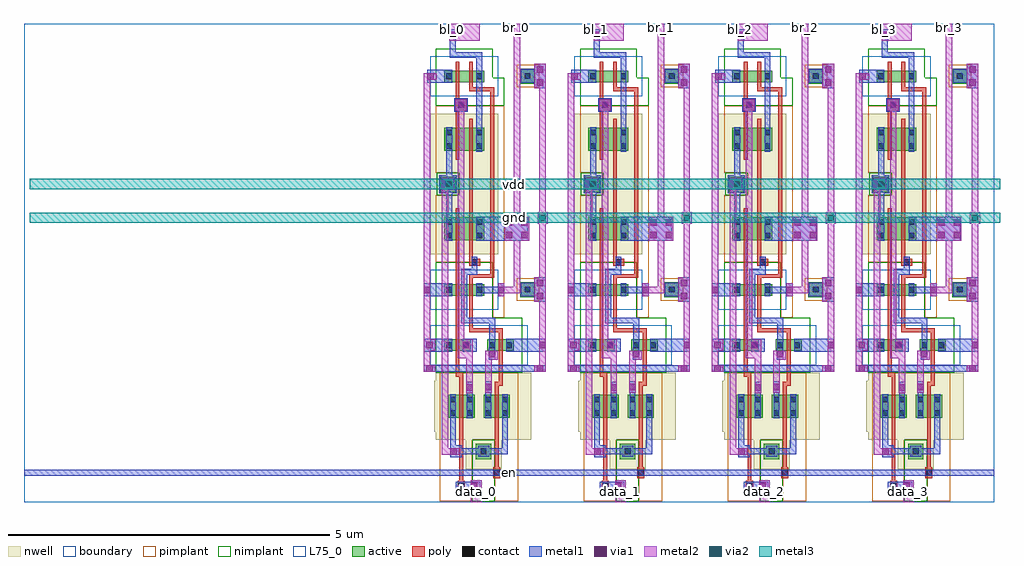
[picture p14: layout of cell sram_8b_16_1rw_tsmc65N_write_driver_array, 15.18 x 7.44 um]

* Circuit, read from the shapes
.subckt sram_8b_16_1rw_tsmc65N_write_driver_array bl_0 bl_1 bl_2 bl_3 br_0 br_1 br_2 br_3 data_0 data_1 data_2 data_3 en gnd vdd
M1 n1 data_0 gnd gnd nfet w=0.18u l=0.06u
M2 n2 data_0 gnd gnd nfet w=0.18u l=0.06u
M3 n3 n1 gnd gnd nfet w=0.18u l=0.06u
M4 br_0 en n2 gnd nfet w=0.18u l=0.06u
M5 bl_0 en n3 gnd nfet w=0.18u l=0.06u
M6 gnd en n4 gnd nfet w=0.18u l=0.06u
M7 n5 data_1 gnd gnd nfet w=0.18u l=0.06u
M8 n6 data_1 gnd gnd nfet w=0.18u l=0.06u
M9 n7 n5 gnd gnd nfet w=0.18u l=0.06u
M10 br_1 en n6 gnd nfet w=0.18u l=0.06u
M11 bl_1 en n7 gnd nfet w=0.18u l=0.06u
M12 gnd en n8 gnd nfet w=0.18u l=0.06u
M13 n9 data_2 gnd gnd nfet w=0.18u l=0.06u
M14 n10 data_2 gnd gnd nfet w=0.18u l=0.06u
M15 n11 n9 gnd gnd nfet w=0.18u l=0.06u
M16 br_2 en n10 gnd nfet w=0.18u l=0.06u
M17 bl_2 en n11 gnd nfet w=0.18u l=0.06u
M18 gnd en n12 gnd nfet w=0.18u l=0.06u
M19 n13 data_3 gnd gnd nfet w=0.18u l=0.06u
M20 n14 data_3 gnd gnd nfet w=0.18u l=0.06u
M21 n15 n13 gnd gnd nfet w=0.18u l=0.06u
M22 br_3 en n14 gnd nfet w=0.18u l=0.06u
M23 bl_3 en n15 gnd nfet w=0.18u l=0.06u
M24 gnd en n16 gnd nfet w=0.18u l=0.06u
M25 n17 data_0 vdd vdd pfet w=0.36u l=0.06u
M26 n18 n1 vdd vdd pfet w=0.36u l=0.06u
M27 n1 data_0 vdd vdd pfet w=0.36u l=0.06u
M28 br_0 n4 n17 vdd pfet w=0.36u l=0.06u
M29 bl_0 n4 n18 vdd pfet w=0.36u l=0.06u
M30 vdd en n4 vdd pfet w=0.36u l=0.06u
M31 n19 data_1 vdd vdd pfet w=0.36u l=0.06u
M32 n20 n5 vdd vdd pfet w=0.36u l=0.06u
M33 n5 data_1 vdd vdd pfet w=0.36u l=0.06u
M34 br_1 n8 n19 vdd pfet w=0.36u l=0.06u
M35 bl_1 n8 n20 vdd pfet w=0.36u l=0.06u
M36 vdd en n8 vdd pfet w=0.36u l=0.06u
M37 n21 data_2 vdd vdd pfet w=0.36u l=0.06u
M38 n22 n9 vdd vdd pfet w=0.36u l=0.06u
M39 n9 data_2 vdd vdd pfet w=0.36u l=0.06u
M40 br_2 n12 n21 vdd pfet w=0.36u l=0.06u
M41 bl_2 n12 n22 vdd pfet w=0.36u l=0.06u
M42 vdd en n12 vdd pfet w=0.36u l=0.06u
M43 n23 data_3 vdd vdd pfet w=0.36u l=0.06u
M44 n24 n13 vdd vdd pfet w=0.36u l=0.06u
M45 n13 data_3 vdd vdd pfet w=0.36u l=0.06u
M46 br_3 n16 n23 vdd pfet w=0.36u l=0.06u
M47 bl_3 n16 n24 vdd pfet w=0.36u l=0.06u
M48 vdd en n16 vdd pfet w=0.36u l=0.06u
.ends

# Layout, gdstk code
import gdstk
lib = gdstk.Library(unit=1e-6, precision=1e-09)
def R(c, l, rs):  # rectangles x0, y0, x1, y1
    for r in rs: c.add(gdstk.rectangle(r[:2], r[2:], *l))
def A(c, l, x, y, w, h, nx, ny, dx, dy):  # array of equal rectangles
    R(c, l, [(x+i*dx, y+j*dy, x+i*dx+w, y+j*dy+h) for i in range(nx) for j in range(ny)])
def P(c, l, *ps):  # polygons
    for p in ps: c.add(gdstk.Polygon(p, *l))
nwell = (3, 0)
active = (6, 0)
poly = (17, 0)
pimplant = (25, 0)
nimplant = (26, 0)
contact = (30, 0)
metal1 = (31, 0)
metal2 = (32, 0)
metal3 = (33, 0)
via1 = (51, 0)
via2 = (52, 0)
L75_0 = (75, 0)
boundary = (108, 0)

write_driver = lib.new_cell('write_driver')
R(write_driver, nwell, [(0.9,0.51,1.46,1.07), (0.945,0.555,1.415,1.025), (0.44,0.97,1.925,2.01), (0.41,1.09,1.26,1.89), (0.96,1.09,1.81,1.89), (0.35,3.85,1.1,4.65), (0.66,3.85,1.41,4.65), (0.35,3.905,1.41,6.04), (0.35,4.66,0.91,5.22), (0.395,4.705,0.865,5.175), (0.35,5.24,1.1,6.04), (0.66,5.24,1.41,6.04)])
R(write_driver, active, [(1.06,0.67,1.3,0.91), (1.105,0.715,1.255,0.865), (0.63,1.31,0.805,1.67), (0.805,1.31,0.865,1.67), (0.865,1.31,1.04,1.67), (1.18,1.31,1.355,1.67), (1.355,1.31,1.415,1.67), (1.415,1.31,1.59,1.67), (0.57,2.35,0.745,2.53), (0.745,2.35,0.805,2.53), (0.805,2.35,0.98,2.53), (1.24,2.35,1.415,2.53), (1.415,2.35,1.475,2.53), (1.475,2.35,1.65,2.53), (1.75,3.185,1.985,3.42), (0.57,3.21,0.745,3.39), (0.745,3.21,0.805,3.39), (0.805,3.21,0.88,3.39), (0.88,3.21,0.955,3.39), (0.955,3.21,1.015,3.39), (1.015,3.21,1.19,3.39), (1.78,3.22,1.95,3.39), (0.57,4.07,0.745,4.43), (0.745,4.07,0.805,4.43), (0.805,4.07,0.88,4.43), (0.88,4.07,0.955,4.43), (0.955,4.07,1.015,4.43), (1.015,4.07,1.19,4.43), (0.51,4.82,0.75,5.06), (0.555,4.865,0.705,5.015), (0.57,5.46,0.745,5.82), (0.745,5.46,0.805,5.82), (0.805,5.46,0.88,5.82), (0.88,5.46,0.955,5.82), (0.955,5.46,1.015,5.82), (1.015,5.46,1.19,5.82), (1.75,6.505,1.985,6.74), (0.57,6.53,0.745,6.71), (0.745,6.53,0.805,6.71), (0.805,6.53,0.88,6.71), (0.88,6.53,0.955,6.71), (0.955,6.53,1.015,6.71), (1.015,6.53,1.19,6.71), (1.78,6.54,1.95,6.71)])
R(write_driver, poly, [(0.78,0.165,0.89,0.335), (0.805,0.25,0.865,1.17), (1.33,0.37,1.44,0.54), (1.355,0.455,1.415,1.17), (0.805,1.17,0.865,1.31), (1.355,1.17,1.415,1.31), (0.805,1.31,0.865,1.67), (1.355,1.31,1.415,1.67), (0.805,1.67,0.865,1.81), (1.355,1.67,1.415,1.81), (0.745,2.21,0.805,2.35), (1.415,2.21,1.475,2.35), (0.745,2.35,0.805,2.53), (1.415,2.35,1.475,2.53), (0.745,2.53,0.805,2.67), (1.415,2.53,1.475,2.67), (0.745,2.67,0.805,3.07), (0.745,3.07,0.805,3.21), (0.955,3.07,1.015,3.21), (0.745,3.21,0.805,3.39), (0.955,3.21,1.015,3.39), (0.745,3.39,0.805,3.53), (0.955,3.39,1.015,3.53), (0.745,3.53,0.805,3.93), (0.955,3.675,1.125,3.785), (0.745,3.93,0.805,4.07), (0.955,3.93,1.015,4.07), (0.745,4.07,0.805,4.43), (0.955,4.07,1.015,4.43), (0.745,4.43,0.805,4.57), (0.955,4.43,1.015,4.57), (0.955,4.57,1.015,5.32), (0.745,5.32,0.805,5.46), (0.955,5.32,1.015,5.46), (0.745,5.46,0.805,5.82), (0.955,5.46,1.015,5.82), (0.745,5.665,0.805,6.39), (0.745,5.82,0.805,5.96), (0.955,5.82,1.015,5.96), (0.745,6.09,0.915,6.26), (0.8,6.145,0.89,6.205), (0.745,6.39,0.805,6.53), (0.955,6.39,1.015,6.53), (0.745,6.53,0.805,6.71), (0.955,6.53,1.015,6.71), (0.745,6.71,0.805,6.85), (0.955,6.71,1.015,6.85)])
P(write_driver, poly, [(0.745,2.21),(0.745,1.95),(0.805,1.95),(0.805,1.81),(0.865,1.81),(0.865,2.01),(0.805,2.01),(0.805,2.21)],
  [(1.015,3.39),(1.015,3.485),(1.345,3.485),(1.345,6.45),(1.015,6.45),(1.015,6.39),(1.285,6.39),(1.285,3.545),(0.955,3.545),(0.955,3.39)],
  [(0.955,3.93),(0.955,3.7),(1.04,3.7),(1.04,3.76),(1.015,3.76),(1.015,3.93)],
  [(1.015,3.13),(0.955,3.13),(0.955,2.64),(1.475,2.64),(1.475,2.7),(1.015,2.7)],
  [(1.475,1.81),(1.475,2.21),(1.415,2.21),(1.415,1.87),(1.355,1.87),(1.355,1.81)])
R(write_driver, pimplant, [(0.5,0.015,1.005,0.97), (1.355,0.015,1.72,0.97), (0.5,0.97,1.17,2.01), (1.05,0.97,1.72,2.01), (1.32,2.87,1.505,6.16), (1.695,3.13,2.045,3.48), (1.76,3.2,1.97,3.41), (0.44,3.73,1.01,4.77), (0.75,3.73,1.32,4.77), (0.805,4.77,1.32,5.12), (0.44,5.12,1.01,6.16), (0.75,5.12,1.32,6.16), (1.695,6.45,2.045,6.8), (1.76,6.52,1.97,6.73)])
R(write_driver, nimplant, [(1.005,0.015,1.355,0.62), (1.005,0.62,1.355,0.97), (1.085,0.695,1.275,0.885), (0.44,2.01,1.11,2.87), (1.11,2.01,1.78,2.87), (0.44,2.87,1.01,3.73), (0.75,2.87,1.32,3.73), (0.455,4.77,0.805,5.12), (0.535,4.845,0.725,5.035), (0.44,6.16,1.505,6.6), (0.44,6.19,1.01,7.05), (0.75,6.19,1.32,7.05)])
R(write_driver, contact, [(0.79,0.205,0.88,0.295), (1.34,0.41,1.43,0.5), (1.135,0.745,1.225,0.835), (0.66,1.34,0.75,1.43), (0.92,1.34,1.01,1.43), (1.21,1.34,1.3,1.43), (1.47,1.34,1.56,1.43), (0.66,1.55,0.75,1.64), (0.92,1.55,1.01,1.64), (1.21,1.55,1.3,1.64), (1.47,1.55,1.56,1.64), (0.6,2.395,0.69,2.485), (0.86,2.395,0.95,2.485), (1.27,2.395,1.36,2.485), (1.53,2.395,1.62,2.485), (0.6,3.255,0.69,3.345), (1.07,3.255,1.16,3.345), (1.82,3.26,1.91,3.35), (0.995,3.685,1.085,3.775), (0.6,4.1,0.69,4.19), (1.07,4.1,1.16,4.19), (0.6,4.31,0.69,4.4), (1.07,4.31,1.16,4.4), (0.585,4.895,0.675,4.985), (0.6,5.49,0.69,5.58), (1.07,5.49,1.16,5.58), (0.6,5.7,0.69,5.79), (1.07,5.7,1.16,5.79), (0.785,6.13,0.875,6.22), (0.6,6.575,0.69,6.665), (1.07,6.575,1.16,6.665), (1.82,6.58,1.91,6.67)])
R(write_driver, metal1, [(0.745,0.165,1.125,0.315), (0.945,0.2,1.125,0.3), (0.75,0.205,0.92,0.295), (0.835,0.205,1.035,0.295), (0.66,0.41,0.75,0.5), (0.66,0.41,1.385,0.5), (0.66,0.41,1.385,0.5), (1.3,0.41,1.47,0.5), (1.385,0.41,1.56,0.5), (0.66,0.7,0.84,0.88), (0.66,0.7,0.76,0.88), (1.095,0.705,1.265,0.875), (0.66,0.79,0.75,1.3), (0.66,1.3,0.75,1.68), (0.92,1.3,1.01,1.68), (1.21,1.3,1.3,1.68), (1.47,1.3,1.56,1.68), (0.92,1.68,1.01,1.785), (1.21,1.68,1.3,1.79), (0.915,1.695,1.015,1.875), (1.205,1.7,1.305,1.88), (0.25,2.025,0.43,2.125), (0.3,2.025,2.06,2.125), (1.97,2.025,2.15,2.125), (1.26,2.215,1.36,2.395), (0.25,2.34,0.43,2.54), (0.355,2.34,0.6,2.54), (0.6,2.34,0.69,2.54), (0.86,2.34,1.075,2.54), (0.86,2.34,0.96,2.54), (0.86,2.34,0.95,2.54), (1.27,2.34,1.36,2.54), (1.53,2.34,1.62,2.54), (1.62,2.34,2.1,2.54), (2.05,2.34,2.15,2.54), (0.25,2.35,0.43,2.53), (0.86,2.35,0.96,2.53), (0.86,2.35,0.96,2.53), (1.97,3.115,2.15,3.495), (0.25,3.2,0.35,3.4), (0.3,3.2,0.6,3.4), (0.6,3.2,0.69,3.4), (1.07,3.2,1.16,3.4), (1.405,3.2,1.505,3.4), (1.76,3.2,1.97,3.41), (1.15,3.25,1.455,3.35), (0.995,3.645,1.085,3.815), (0.6,4.06,0.69,4.44), (1.07,4.06,1.16,4.44), (1.16,4.06,1.7,4.44), (1.53,4.06,1.87,4.44), (0.6,4.44,0.69,5.45), (0.6,4.44,0.69,5.45), (0.495,4.8,0.765,5.08), (0.53,4.855,0.63,5.035), (0.545,4.855,0.715,5.025), (0.585,4.895,0.675,4.985), (0.6,5.45,0.69,5.83), (1.07,5.45,1.16,5.83), (1.07,5.83,1.16,6.52), (0.725,6.07,0.935,6.28), (0.725,6.07,0.935,6.28), (1.97,6.435,2.15,6.815), (0.305,6.52,0.405,6.72), (0.355,6.52,0.6,6.72), (0.6,6.52,0.69,6.72), (1.07,6.52,1.16,6.72), (1.76,6.52,1.97,6.73), (0.65,7.175,0.75,7.355)])
P(write_driver, metal1, [(0.655,7.26),(0.655,6.905),(1.07,6.905),(1.07,6.72),(1.16,6.72),(1.16,6.995),(0.745,6.995),(0.745,7.26)],
  [(0.705,0.745),(1.56,0.745),(1.56,1.3),(1.47,1.3),(1.47,0.835),(0.705,0.835)],
  [(0.995,3.73),(0.995,3.625),(0.835,3.625),(0.835,2.78),(1.27,2.78),(1.27,2.54),(1.36,2.54),(1.36,2.87),(0.925,2.87),(0.925,3.535),(1.085,3.535),(1.085,3.73)])
R(write_driver, metal2, [(0.985,0,1.15,0.34), (0.985,0,1.15,0.34), (0.985,0,1.085,0.25), (0.99,0,1.08,0.09), (0.985,0.16,1.085,0.34), (0.53,0.74,0.63,4.935), (0.555,0.74,0.71,0.84), (0.62,0.74,0.8,0.84), (0.915,1.695,1.015,1.875), (1.205,1.7,1.305,1.88), (0.915,1.785,1.015,2.53), (0.25,2.025,0.43,2.125), (0.25,2.025,0.35,6.67), (0.34,2.025,0.43,2.125), (1.97,2.025,2.15,2.125), (2.05,2.025,2.15,6.815), (2.05,2.025,2.15,6.815), (2.06,2.025,2.15,2.125), (1.205,2.215,1.4,2.355), (1.22,2.255,1.4,2.355), (0.25,2.35,0.43,2.53), (0.86,2.35,0.96,2.53), (0.96,2.35,1,2.53), (2.05,2.35,2.15,2.53), (0.82,2.39,1,2.49), (1.97,3.115,2.15,3.495), (1.405,3.2,1.505,3.4), (0.25,3.21,0.35,3.39), (1.65,3.25,1.75,3.35), (1.51,4.06,1.89,4.44), (0.53,4.855,0.63,5.035), (0.74,6.085,0.92,6.265), (1.97,6.435,2.15,6.815), (0.255,6.57,0.455,6.67), (2.05,6.715,2.15,6.815), (0.65,7.175,0.75,7.355), (0.75,7.175,1.12,7.435), (0.65,7.255,0.75,7.435), (0.65,7.255,0.75,7.435), (0.65,7.335,0.75,7.435), (1.65,7.335,1.75,7.435), (1.65,7.335,1.75,7.435)])
P(write_driver, metal2, [(0.78,6.175),(0.78,2.24),(0.96,2.24),(0.96,2.44),(0.86,2.44),(0.86,2.34),(0.88,2.34),(0.88,6.175)],
  [(1.305,1.79),(1.305,2.215),(1.31,2.215),(1.31,2.315),(1.205,2.315),(1.205,1.79)],
  [(1.455,3.25),(1.75,3.25),(1.75,7.435),(1.65,7.435),(1.65,3.35),(1.455,3.35)])
R(write_driver, via1, [(0.985,0.2,1.085,0.3), (0.66,0.74,0.76,0.84), (0.915,1.735,1.015,1.835), (1.205,1.74,1.305,1.84), (0.29,2.025,0.39,2.125), (2.01,2.025,2.11,2.125), (1.26,2.255,1.36,2.355), (0.29,2.39,0.39,2.49), (0.86,2.39,0.96,2.49), (0.86,2.39,0.96,2.49), (2.05,2.39,2.15,2.49), (2.01,3.155,2.11,3.255), (0.25,3.25,0.35,3.35), (1.405,3.25,1.505,3.35), (2.01,3.355,2.11,3.455), (1.53,4.1,1.63,4.2), (1.77,4.1,1.87,4.2), (1.53,4.3,1.63,4.4), (1.77,4.3,1.87,4.4), (0.53,4.895,0.63,4.995), (0.78,6.125,0.88,6.225), (2.01,6.475,2.11,6.575), (0.305,6.57,0.405,6.67), (2.01,6.675,2.11,6.775), (0.65,7.215,0.75,7.315)])
R(write_driver, L75_0, [(0.35,2.13,1.2,2.75), (1.02,2.13,1.87,2.75), (0.35,2.99,1.1,3.61), (0.66,2.99,1.41,3.61), (1.76,3.2,1.97,3.41), (0.35,6.31,1.1,6.93), (0.66,6.31,1.41,6.93), (1.76,6.52,1.97,6.73)])
R(write_driver, boundary, [(0,0,2.4,7.435)])
write_driver.add(gdstk.Label('vdd', (0.63,4.94), layer=31, texttype=0))
write_driver.add(gdstk.Label('en', (0.705,0.455), layer=31, texttype=0))
write_driver.add(gdstk.Label('[@instanceName]', (1.445,2.44), layer=127, texttype=0))
write_driver.add(gdstk.Label('nch\n0.18/0.06\n', (1.475,2.35), layer=127, texttype=0))
write_driver.add(gdstk.Label('D', (1.315,2.44), layer=127, texttype=0))
write_driver.add(gdstk.Label('S', (1.575,2.44), layer=127, texttype=0))
write_driver.add(gdstk.Label('[@instanceName]', (0.775,2.44), layer=127, texttype=0))
write_driver.add(gdstk.Label('nch\n0.18/0.06\n', (0.745,2.35), layer=127, texttype=0))
write_driver.add(gdstk.Label('D', (0.905,2.44), layer=127, texttype=0))
write_driver.add(gdstk.Label('S', (0.645,2.44), layer=127, texttype=0))
write_driver.add(gdstk.Label('[@instanceName]', (1.385,1.49), layer=127, texttype=0))
write_driver.add(gdstk.Label('pch\n0.36/0.06\n', (1.415,1.31), layer=127, texttype=0))
write_driver.add(gdstk.Label('D', (1.255,1.49), layer=127, texttype=0))
write_driver.add(gdstk.Label('S', (1.515,1.49), layer=127, texttype=0))
write_driver.add(gdstk.Label('[@instanceName]', (0.835,1.49), layer=127, texttype=0))
write_driver.add(gdstk.Label('pch\n0.36/0.06\n', (0.805,1.31), layer=127, texttype=0))
write_driver.add(gdstk.Label('D', (0.965,1.49), layer=127, texttype=0))
write_driver.add(gdstk.Label('S', (0.705,1.49), layer=127, texttype=0))
write_driver.add(gdstk.Label('[@instanceName]', (0.985,3.3), layer=127, texttype=0))
write_driver.add(gdstk.Label('nch\n0.18/0.06\n', (0.955,3.21), layer=127, texttype=0))
write_driver.add(gdstk.Label('D', (1.115,3.3), layer=127, texttype=0))
write_driver.add(gdstk.Label('[@instanceName]', (0.985,6.62), layer=127, texttype=0))
write_driver.add(gdstk.Label('nch\n0.18/0.06\n', (0.955,6.53), layer=127, texttype=0))
write_driver.add(gdstk.Label('D', (1.115,6.62), layer=127, texttype=0))
write_driver.add(gdstk.Label('[@instanceName]', (0.775,3.3), layer=127, texttype=0))
write_driver.add(gdstk.Label('nch\n0.18/0.06\n', (0.745,3.21), layer=127, texttype=0))
write_driver.add(gdstk.Label('S', (0.645,3.3), layer=127, texttype=0))
write_driver.add(gdstk.Label('[@instanceName]', (0.775,6.62), layer=127, texttype=0))
write_driver.add(gdstk.Label('nch\n0.18/0.06\n', (0.745,6.53), layer=127, texttype=0))
write_driver.add(gdstk.Label('S', (0.645,6.62), layer=127, texttype=0))
write_driver.add(gdstk.Label('[@instanceName]', (0.985,4.25), layer=127, texttype=0))
write_driver.add(gdstk.Label('pch\n0.36/0.06\n', (0.955,4.07), layer=127, texttype=0))
write_driver.add(gdstk.Label('D', (1.115,4.25), layer=127, texttype=0))
write_driver.add(gdstk.Label('[@instanceName]', (0.985,5.64), layer=127, texttype=0))
write_driver.add(gdstk.Label('pch\n0.36/0.06\n', (0.955,5.46), layer=127, texttype=0))
write_driver.add(gdstk.Label('D', (1.115,5.64), layer=127, texttype=0))
write_driver.add(gdstk.Label('[@instanceName]', (0.775,4.25), layer=127, texttype=0))
write_driver.add(gdstk.Label('pch\n0.36/0.06\n', (0.745,4.07), layer=127, texttype=0))
write_driver.add(gdstk.Label('S', (0.645,4.25), layer=127, texttype=0))
write_driver.add(gdstk.Label('[@instanceName]', (0.775,5.64), layer=127, texttype=0))
write_driver.add(gdstk.Label('pch\n0.36/0.06\n', (0.745,5.46), layer=127, texttype=0))
write_driver.add(gdstk.Label('S', (0.645,5.64), layer=127, texttype=0))
write_driver.add(gdstk.Label('& SerialNumber 000000', (1.475,2.35), layer=63, texttype=63))
write_driver.add(gdstk.Label('& Distributor TSMC', (1.475,2.35), layer=63, texttype=63))
write_driver.add(gdstk.Label('& Metric 1', (1.475,2.35), layer=63, texttype=63))
write_driver.add(gdstk.Label('& PDK Version "tsmcN65_DTQ::RWg\\177;oCnm~vw{v}v\\202_20120815"', (1.475,2.35), layer=63, texttype=63))
write_driver.add(gdstk.Label('& PDK TechNode "CRN65LP"', (1.475,2.35), layer=63, texttype=63))
write_driver.add(gdstk.Label('& Product    tsmcN65_PDK', (1.475,2.35), layer=63, texttype=63))
write_driver.add(gdstk.Label('& Vendor     Taiwan Semiconductor manufacturing Corp.', (1.475,2.35), layer=63, texttype=63))
write_driver.add(gdstk.Label('& SerialNumber 000000', (0.745,2.35), layer=63, texttype=63))
write_driver.add(gdstk.Label('& Distributor TSMC', (0.745,2.35), layer=63, texttype=63))
write_driver.add(gdstk.Label('& Metric 1', (0.745,2.35), layer=63, texttype=63))
write_driver.add(gdstk.Label('& PDK Version "tsmcN65_DTQ::RWg\\177;oCnm~vw{v}v\\202_20120815"', (0.745,2.35), layer=63, texttype=63))
write_driver.add(gdstk.Label('& PDK TechNode "CRN65LP"', (0.745,2.35), layer=63, texttype=63))
write_driver.add(gdstk.Label('& Product    tsmcN65_PDK', (0.745,2.35), layer=63, texttype=63))
write_driver.add(gdstk.Label('& Vendor     Taiwan Semiconductor manufacturing Corp.', (0.745,2.35), layer=63, texttype=63))
write_driver.add(gdstk.Label('& SerialNumber 000000', (1.415,1.31), layer=63, texttype=63))
write_driver.add(gdstk.Label('& Distributor TSMC', (1.415,1.31), layer=63, texttype=63))
write_driver.add(gdstk.Label('& Metric 1', (1.415,1.31), layer=63, texttype=63))
write_driver.add(gdstk.Label('& PDK Version "tsmcN65_DTQ::RWg\\177;oCnm~vw{v}v\\202_20120815"', (1.415,1.31), layer=63, texttype=63))
write_driver.add(gdstk.Label('& PDK TechNode "CRN65LP"', (1.415,1.31), layer=63, texttype=63))
write_driver.add(gdstk.Label('& Product    tsmcN65_PDK', (1.415,1.31), layer=63, texttype=63))
write_driver.add(gdstk.Label('& Vendor     Taiwan Semiconductor manufacturing Corp.', (1.415,1.31), layer=63, texttype=63))
write_driver.add(gdstk.Label('& SerialNumber 000000', (0.805,1.31), layer=63, texttype=63))
write_driver.add(gdstk.Label('& Distributor TSMC', (0.805,1.31), layer=63, texttype=63))
write_driver.add(gdstk.Label('& Metric 1', (0.805,1.31), layer=63, texttype=63))
write_driver.add(gdstk.Label('& PDK Version "tsmcN65_DTQ::RWg\\177;oCnm~vw{v}v\\202_20120815"', (0.805,1.31), layer=63, texttype=63))
write_driver.add(gdstk.Label('& PDK TechNode "CRN65LP"', (0.805,1.31), layer=63, texttype=63))
write_driver.add(gdstk.Label('& Product    tsmcN65_PDK', (0.805,1.31), layer=63, texttype=63))
write_driver.add(gdstk.Label('& Vendor     Taiwan Semiconductor manufacturing Corp.', (0.805,1.31), layer=63, texttype=63))
write_driver.add(gdstk.Label('& SerialNumber 000000', (0.955,3.21), layer=63, texttype=63))
write_driver.add(gdstk.Label('& Distributor TSMC', (0.955,3.21), layer=63, texttype=63))
write_driver.add(gdstk.Label('& Metric 1', (0.955,3.21), layer=63, texttype=63))
write_driver.add(gdstk.Label('& PDK Version "tsmcN65_DTQ::RWg\\177;oCnm~vw{v}v\\202_20120815"', (0.955,3.21), layer=63, texttype=63))
write_driver.add(gdstk.Label('& PDK TechNode "CRN65LP"', (0.955,3.21), layer=63, texttype=63))
write_driver.add(gdstk.Label('& Product    tsmcN65_PDK', (0.955,3.21), layer=63, texttype=63))
write_driver.add(gdstk.Label('& Vendor     Taiwan Semiconductor manufacturing Corp.', (0.955,3.21), layer=63, texttype=63))
write_driver.add(gdstk.Label('& SerialNumber 000000', (0.955,6.53), layer=63, texttype=63))
write_driver.add(gdstk.Label('& Distributor TSMC', (0.955,6.53), layer=63, texttype=63))
write_driver.add(gdstk.Label('& Metric 1', (0.955,6.53), layer=63, texttype=63))
write_driver.add(gdstk.Label('& PDK Version "tsmcN65_DTQ::RWg\\177;oCnm~vw{v}v\\202_20120815"', (0.955,6.53), layer=63, texttype=63))
write_driver.add(gdstk.Label('& PDK TechNode "CRN65LP"', (0.955,6.53), layer=63, texttype=63))
write_driver.add(gdstk.Label('& Product    tsmcN65_PDK', (0.955,6.53), layer=63, texttype=63))
write_driver.add(gdstk.Label('& Vendor     Taiwan Semiconductor manufacturing Corp.', (0.955,6.53), layer=63, texttype=63))
write_driver.add(gdstk.Label('& SerialNumber 000000', (0.745,3.21), layer=63, texttype=63))
write_driver.add(gdstk.Label('& Distributor TSMC', (0.745,3.21), layer=63, texttype=63))
write_driver.add(gdstk.Label('& Metric 1', (0.745,3.21), layer=63, texttype=63))
write_driver.add(gdstk.Label('& PDK Version "tsmcN65_DTQ::RWg\\177;oCnm~vw{v}v\\202_20120815"', (0.745,3.21), layer=63, texttype=63))
write_driver.add(gdstk.Label('& PDK TechNode "CRN65LP"', (0.745,3.21), layer=63, texttype=63))
write_driver.add(gdstk.Label('& Product    tsmcN65_PDK', (0.745,3.21), layer=63, texttype=63))
write_driver.add(gdstk.Label('& Vendor     Taiwan Semiconductor manufacturing Corp.', (0.745,3.21), layer=63, texttype=63))
write_driver.add(gdstk.Label('& SerialNumber 000000', (0.745,6.53), layer=63, texttype=63))
write_driver.add(gdstk.Label('& Distributor TSMC', (0.745,6.53), layer=63, texttype=63))
write_driver.add(gdstk.Label('& Metric 1', (0.745,6.53), layer=63, texttype=63))
write_driver.add(gdstk.Label('& PDK Version "tsmcN65_DTQ::RWg\\177;oCnm~vw{v}v\\202_20120815"', (0.745,6.53), layer=63, texttype=63))
write_driver.add(gdstk.Label('& PDK TechNode "CRN65LP"', (0.745,6.53), layer=63, texttype=63))
write_driver.add(gdstk.Label('& Product    tsmcN65_PDK', (0.745,6.53), layer=63, texttype=63))
write_driver.add(gdstk.Label('& Vendor     Taiwan Semiconductor manufacturing Corp.', (0.745,6.53), layer=63, texttype=63))
write_driver.add(gdstk.Label('& SerialNumber 000000', (0.955,4.07), layer=63, texttype=63))
write_driver.add(gdstk.Label('& Distributor TSMC', (0.955,4.07), layer=63, texttype=63))
write_driver.add(gdstk.Label('& Metric 1', (0.955,4.07), layer=63, texttype=63))
write_driver.add(gdstk.Label('& PDK Version "tsmcN65_DTQ::RWg\\177;oCnm~vw{v}v\\202_20120815"', (0.955,4.07), layer=63, texttype=63))
write_driver.add(gdstk.Label('& PDK TechNode "CRN65LP"', (0.955,4.07), layer=63, texttype=63))
write_driver.add(gdstk.Label('& Product    tsmcN65_PDK', (0.955,4.07), layer=63, texttype=63))
write_driver.add(gdstk.Label('& Vendor     Taiwan Semiconductor manufacturing Corp.', (0.955,4.07), layer=63, texttype=63))
write_driver.add(gdstk.Label('& SerialNumber 000000', (0.955,5.46), layer=63, texttype=63))
write_driver.add(gdstk.Label('& Distributor TSMC', (0.955,5.46), layer=63, texttype=63))
write_driver.add(gdstk.Label('& Metric 1', (0.955,5.46), layer=63, texttype=63))
write_driver.add(gdstk.Label('& PDK Version "tsmcN65_DTQ::RWg\\177;oCnm~vw{v}v\\202_20120815"', (0.955,5.46), layer=63, texttype=63))
write_driver.add(gdstk.Label('& PDK TechNode "CRN65LP"', (0.955,5.46), layer=63, texttype=63))
write_driver.add(gdstk.Label('& Product    tsmcN65_PDK', (0.955,5.46), layer=63, texttype=63))
write_driver.add(gdstk.Label('& Vendor     Taiwan Semiconductor manufacturing Corp.', (0.955,5.46), layer=63, texttype=63))
write_driver.add(gdstk.Label('& SerialNumber 000000', (0.745,4.07), layer=63, texttype=63))
write_driver.add(gdstk.Label('& Distributor TSMC', (0.745,4.07), layer=63, texttype=63))
write_driver.add(gdstk.Label('& Metric 1', (0.745,4.07), layer=63, texttype=63))
write_driver.add(gdstk.Label('& PDK Version "tsmcN65_DTQ::RWg\\177;oCnm~vw{v}v\\202_20120815"', (0.745,4.07), layer=63, texttype=63))
write_driver.add(gdstk.Label('& PDK TechNode "CRN65LP"', (0.745,4.07), layer=63, texttype=63))
write_driver.add(gdstk.Label('& Product    tsmcN65_PDK', (0.745,4.07), layer=63, texttype=63))
write_driver.add(gdstk.Label('& Vendor     Taiwan Semiconductor manufacturing Corp.', (0.745,4.07), layer=63, texttype=63))
write_driver.add(gdstk.Label('& SerialNumber 000000', (0.745,5.46), layer=63, texttype=63))
write_driver.add(gdstk.Label('& Distributor TSMC', (0.745,5.46), layer=63, texttype=63))
write_driver.add(gdstk.Label('& Metric 1', (0.745,5.46), layer=63, texttype=63))
write_driver.add(gdstk.Label('& PDK Version "tsmcN65_DTQ::RWg\\177;oCnm~vw{v}v\\202_20120815"', (0.745,5.46), layer=63, texttype=63))
write_driver.add(gdstk.Label('& PDK TechNode "CRN65LP"', (0.745,5.46), layer=63, texttype=63))
write_driver.add(gdstk.Label('& Product    tsmcN65_PDK', (0.745,5.46), layer=63, texttype=63))
write_driver.add(gdstk.Label('& Vendor     Taiwan Semiconductor manufacturing Corp.', (0.745,5.46), layer=63, texttype=63))
write_driver.add(gdstk.Label('gnd', (2.1,6.765), layer=32, texttype=0))
write_driver.add(gdstk.Label('br', (1.7,7.385), layer=32, texttype=0))
write_driver.add(gdstk.Label('bl', (0.7,7.385), layer=32, texttype=0))
write_driver.add(gdstk.Label('din', (1.035,0.045), layer=32, texttype=0))
write_driver.add(gdstk.Label('din', (1.068,0.17), layer=32, texttype=0))
write_driver.add(gdstk.Label('bl', (0.7,7.345), layer=32, texttype=0))
write_driver.add(gdstk.Label('br', (1.7,7.385), layer=32, texttype=0))
write_driver.add(gdstk.Label('en', (1.022,0.455), layer=31, texttype=0))
write_driver.add(gdstk.Label('vdd', (0.645,4.945), layer=31, texttype=0))
write_driver.add(gdstk.Label('gnd', (2.1,4.42), layer=32, texttype=0))

sram_8b_16_1rw_tsmc65n_c = lib.new_cell('sram_8b_16_1rw_tsmc65N_contact_17')
R(sram_8b_16_1rw_tsmc65n_c, metal1, [(0,0.015,0.17,0.155)])
R(sram_8b_16_1rw_tsmc65n_c, metal2, [(0.01,0,0.16,0.17)])
R(sram_8b_16_1rw_tsmc65n_c, via1, [(0.04,0.04,0.13,0.13)])
R(sram_8b_16_1rw_tsmc65n_c, boundary, [(0,0,0.17,0.17)])

c_sram_8b_16_1rw_tsmc65n_c = lib.new_cell('sram_8b_16_1rw_tsmc65N_contact_18')
R(c_sram_8b_16_1rw_tsmc65n_c, metal2, [(0.01,0,0.17,0.18)])
R(c_sram_8b_16_1rw_tsmc65n_c, metal3, [(0,0.01,0.18,0.17)])
R(c_sram_8b_16_1rw_tsmc65n_c, via2, [(0.04,0.04,0.14,0.14)])
R(c_sram_8b_16_1rw_tsmc65n_c, boundary, [(0,0,0.18,0.18)])

sram_8b_16_1rw_tsmc65n_w = lib.new_cell('sram_8b_16_1rw_tsmc65N_write_driver_array')
A(sram_8b_16_1rw_tsmc65n_w, metal1, 6.565, 4.875, 0.09, 0.14, 4, 1, 2.24, 0)
R(sram_8b_16_1rw_tsmc65n_w, metal1, [(0,0.41,15.085,0.5)])
A(sram_8b_16_1rw_tsmc65n_w, metal2, 6.95, 0, 0.165, 0.34, 4, 1, 2.24, 0)
A(sram_8b_16_1rw_tsmc65n_w, metal2, 7.985, 4.37, 0.16, 0.1, 4, 1, 2.24, 0)
A(sram_8b_16_1rw_tsmc65n_w, metal2, 6.53, 4.895, 0.16, 0.1, 4, 1, 2.24, 0)
A(sram_8b_16_1rw_tsmc65n_w, metal2, 6.615, 7.255, 0.1, 0.18, 4, 1, 2.24, 0)
A(sram_8b_16_1rw_tsmc65n_w, metal2, 7.615, 7.335, 0.1, 0.1, 4, 1, 2.24, 0)
R(sram_8b_16_1rw_tsmc65n_w, metal3, [(0.09,4.34,15.175,4.5), (0.09,4.865,15.175,5.025)])
R(sram_8b_16_1rw_tsmc65n_w, boundary, [(0,0,15.085,7.435)])
sram_8b_16_1rw_tsmc65n_w.add(gdstk.Reference(write_driver, (5.965,0)))
sram_8b_16_1rw_tsmc65n_w.add(gdstk.Reference(write_driver, (8.205,0)))
sram_8b_16_1rw_tsmc65n_w.add(gdstk.Reference(write_driver, (10.445,0)))
sram_8b_16_1rw_tsmc65n_w.add(gdstk.Reference(write_driver, (12.685,0)))
sram_8b_16_1rw_tsmc65n_w.add(gdstk.Reference(sram_8b_16_1rw_tsmc65n_c, (6.525,4.86)))
sram_8b_16_1rw_tsmc65n_w.add(gdstk.Reference(c_sram_8b_16_1rw_tsmc65n_c, (6.52,4.855)))
sram_8b_16_1rw_tsmc65n_w.add(gdstk.Reference(sram_8b_16_1rw_tsmc65n_c, (8.765,4.86)))
sram_8b_16_1rw_tsmc65n_w.add(gdstk.Reference(c_sram_8b_16_1rw_tsmc65n_c, (8.76,4.855)))
sram_8b_16_1rw_tsmc65n_w.add(gdstk.Reference(sram_8b_16_1rw_tsmc65n_c, (11.005,4.86)))
sram_8b_16_1rw_tsmc65n_w.add(gdstk.Reference(c_sram_8b_16_1rw_tsmc65n_c, (11,4.855)))
sram_8b_16_1rw_tsmc65n_w.add(gdstk.Reference(sram_8b_16_1rw_tsmc65n_c, (13.245,4.86)))
sram_8b_16_1rw_tsmc65n_w.add(gdstk.Reference(c_sram_8b_16_1rw_tsmc65n_c, (13.24,4.855)))
sram_8b_16_1rw_tsmc65n_w.add(gdstk.Reference(c_sram_8b_16_1rw_tsmc65n_c, (7.975,4.33)))
sram_8b_16_1rw_tsmc65n_w.add(gdstk.Reference(c_sram_8b_16_1rw_tsmc65n_c, (10.215,4.33)))
sram_8b_16_1rw_tsmc65n_w.add(gdstk.Reference(c_sram_8b_16_1rw_tsmc65n_c, (12.455,4.33)))
sram_8b_16_1rw_tsmc65n_w.add(gdstk.Reference(c_sram_8b_16_1rw_tsmc65n_c, (14.695,4.33)))
sram_8b_16_1rw_tsmc65n_w.add(gdstk.Label('data_0', (7.033,0.17), layer=32, texttype=0))
sram_8b_16_1rw_tsmc65n_w.add(gdstk.Label('bl_0', (6.665,7.345), layer=32, texttype=0))
sram_8b_16_1rw_tsmc65n_w.add(gdstk.Label('br_0', (7.665,7.385), layer=32, texttype=0))
sram_8b_16_1rw_tsmc65n_w.add(gdstk.Label('data_1', (9.272,0.17), layer=32, texttype=0))
sram_8b_16_1rw_tsmc65n_w.add(gdstk.Label('bl_1', (8.905,7.345), layer=32, texttype=0))
sram_8b_16_1rw_tsmc65n_w.add(gdstk.Label('br_1', (9.905,7.385), layer=32, texttype=0))
sram_8b_16_1rw_tsmc65n_w.add(gdstk.Label('data_2', (11.512,0.17), layer=32, texttype=0))
sram_8b_16_1rw_tsmc65n_w.add(gdstk.Label('bl_2', (11.145,7.345), layer=32, texttype=0))
sram_8b_16_1rw_tsmc65n_w.add(gdstk.Label('br_2', (12.145,7.385), layer=32, texttype=0))
sram_8b_16_1rw_tsmc65n_w.add(gdstk.Label('data_3', (13.753,0.17), layer=32, texttype=0))
sram_8b_16_1rw_tsmc65n_w.add(gdstk.Label('bl_3', (13.385,7.345), layer=32, texttype=0))
sram_8b_16_1rw_tsmc65n_w.add(gdstk.Label('br_3', (14.385,7.385), layer=32, texttype=0))
sram_8b_16_1rw_tsmc65n_w.add(gdstk.Label('en', (7.542,0.455), layer=31, texttype=0))
sram_8b_16_1rw_tsmc65n_w.add(gdstk.Label('vdd', (7.632,4.945), layer=33, texttype=0))
sram_8b_16_1rw_tsmc65n_w.add(gdstk.Label('gnd', (7.632,4.42), layer=33, texttype=0))

lib.write_gds('sram_8b_16_1rw_tsmc65N_write_driver_array.gds')
